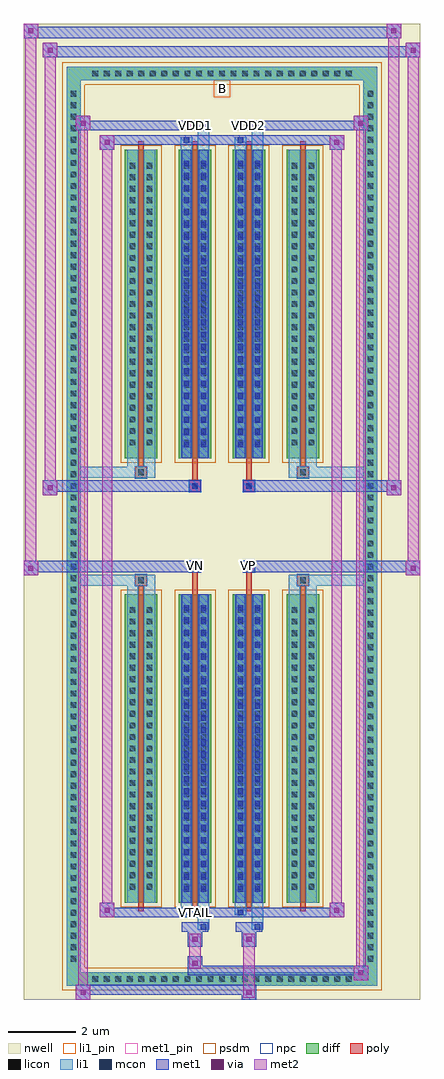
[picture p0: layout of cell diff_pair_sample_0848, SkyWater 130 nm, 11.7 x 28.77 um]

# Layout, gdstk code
import gdstk
lib = gdstk.Library(unit=1e-6, precision=5e-09)
def R(c, l, rs):  # rectangles x0, y0, x1, y1
    for r in rs: c.add(gdstk.rectangle(r[:2], r[2:], *l))
def A(c, l, x, y, w, h, nx, ny, dx, dy):  # array of equal rectangles
    R(c, l, [(x+i*dx, y+j*dy, x+i*dx+w, y+j*dy+h) for i in range(nx) for j in range(ny)])
def P(c, l, *ps):  # polygons
    for p in ps: c.add(gdstk.Polygon(p, *l))
nwell = (64, 20)
diff = (65, 20)
poly = (66, 20)
licon = (66, 44)
li1_pin = (67, 16)
li1 = (67, 20)
mcon = (67, 44)
met1_pin = (68, 16)
met1 = (68, 20)
via = (68, 44)
met2 = (69, 20)
psdm = (94, 20)
npc = (95, 20)

diff_pair_sample_0848 = lib.new_cell('diff_pair_sample_0848')
R(diff_pair_sample_0848, nwell, [(-5.85,-13.95,5.85,14.82), (-3.17,-12.14,-0.01,-0.82), (0.01,-12.14,3.17,-0.82), (-3.17,0.82,-0.01,12.14), (0.01,0.82,3.17,12.14)])
A(diff_pair_sample_0848, diff, -3.945, -13.55, 0.41, 0.41, 23, 2, 0.34, 26.69)
A(diff_pair_sample_0848, diff, -4.58, -12.955, 0.41, 0.41, 1, 76, 0, 0.34)
A(diff_pair_sample_0848, diff, 4.17, -12.955, 0.41, 0.41, 1, 76, 0, 0.34)
A(diff_pair_sample_0848, diff, -2.86, -11.095, 0.95, 9.09, 4, 2, 1.59, 13.1)
R(diff_pair_sample_0848, diff, [(-3.945,-13.55,3.945,-13.14), (-4.58,-12.955,-4.17,12.955), (4.17,-12.955,4.58,12.955), (-3.945,13.14,3.945,13.55)])
P(diff_pair_sample_0848, diff, [(4.58,13.55),(-4.58,13.55),(-4.58,-13.14),(-4.17,-13.14),(-4.17,13.14),(4.17,13.14),(4.17,-13.14),(-4.17,-13.14),(-4.58,-13.14),(-4.58,-13.55),(4.58,-13.55)])
A(diff_pair_sample_0848, poly, -2.47, -11.345, 0.17, 9.59, 4, 2, 1.59, 13.1)
R(diff_pair_sample_0848, poly, [(-2.55,-1.755,-2.22,-1.425), (-2.55,-1.755,-2.22,-1.425), (-0.88,-1.755,-0.71,-1.35), (0.71,-1.755,0.88,-1.35), (2.22,-1.755,2.55,-1.425), (2.22,-1.755,2.55,-1.425), (-0.96,-1.35,-0.63,-1.02), (-0.96,-1.35,-0.63,-1.02), (0.63,-1.35,0.96,-1.02), (0.63,-1.35,0.96,-1.02), (-0.96,1.02,-0.63,1.35), (-0.96,1.02,-0.63,1.35), (0.63,1.02,0.96,1.35), (0.63,1.02,0.96,1.35), (-0.88,1.35,-0.71,1.755), (0.71,1.35,0.88,1.755), (-2.55,1.425,-2.22,1.755), (-2.55,1.425,-2.22,1.755), (2.22,1.425,2.55,1.755), (2.22,1.425,2.55,1.755)])
A(diff_pair_sample_0848, licon, -3.825, -13.43, 0.17, 0.17, 23, 2, 0.34, 26.69)
A(diff_pair_sample_0848, licon, -4.46, -12.835, 0.17, 0.17, 1, 76, 0, 0.34)
A(diff_pair_sample_0848, licon, 4.29, -12.835, 0.17, 0.17, 1, 76, 0, 0.34)
A(diff_pair_sample_0848, licon, -2.72, -10.715, 0.17, 0.17, 1, 25, 0, 0.34)
A(diff_pair_sample_0848, licon, -2.22, -10.715, 0.17, 0.17, 1, 25, 0, 0.34)
A(diff_pair_sample_0848, licon, -1.13, -10.715, 0.17, 0.17, 1, 25, 0, 0.34)
A(diff_pair_sample_0848, licon, -0.63, -10.715, 0.17, 0.17, 1, 25, 0, 0.34)
A(diff_pair_sample_0848, licon, 0.46, -10.715, 0.17, 0.17, 1, 25, 0, 0.34)
A(diff_pair_sample_0848, licon, 0.96, -10.715, 0.17, 0.17, 1, 25, 0, 0.34)
A(diff_pair_sample_0848, licon, 2.05, -10.715, 0.17, 0.17, 1, 25, 0, 0.34)
A(diff_pair_sample_0848, licon, 2.55, -10.715, 0.17, 0.17, 1, 25, 0, 0.34)
A(diff_pair_sample_0848, licon, -2.72, 2.385, 0.17, 0.17, 1, 25, 0, 0.34)
A(diff_pair_sample_0848, licon, -2.22, 2.385, 0.17, 0.17, 1, 25, 0, 0.34)
A(diff_pair_sample_0848, licon, -1.13, 2.385, 0.17, 0.17, 1, 25, 0, 0.34)
A(diff_pair_sample_0848, licon, -0.63, 2.385, 0.17, 0.17, 1, 25, 0, 0.34)
A(diff_pair_sample_0848, licon, 0.46, 2.385, 0.17, 0.17, 1, 25, 0, 0.34)
A(diff_pair_sample_0848, licon, 0.96, 2.385, 0.17, 0.17, 1, 25, 0, 0.34)
A(diff_pair_sample_0848, licon, 2.05, 2.385, 0.17, 0.17, 1, 25, 0, 0.34)
A(diff_pair_sample_0848, licon, 2.55, 2.385, 0.17, 0.17, 1, 25, 0, 0.34)
R(diff_pair_sample_0848, licon, [(-2.47,-1.675,-2.3,-1.505), (2.3,-1.675,2.47,-1.505), (-0.88,-1.27,-0.71,-1.1), (0.71,-1.27,0.88,-1.1), (-0.88,1.1,-0.71,1.27), (0.71,1.1,0.88,1.27), (-2.47,1.505,-2.3,1.675), (2.3,1.505,2.47,1.675)])
R(diff_pair_sample_0848, li1_pin, [(-0.25,12.64,0.25,13.14)])
A(diff_pair_sample_0848, li1, -3.905, -13.51, 0.33, 0.33, 23, 2, 0.34, 26.69)
A(diff_pair_sample_0848, li1, -4.54, -12.915, 0.33, 0.33, 1, 76, 0, 0.34)
A(diff_pair_sample_0848, li1, 4.21, -12.915, 0.33, 0.33, 1, 76, 0, 0.34)
A(diff_pair_sample_0848, li1, -2.8, -10.795, 0.33, 0.33, 1, 25, 0, 0.34)
A(diff_pair_sample_0848, li1, -2.3, -10.795, 0.33, 0.33, 1, 25, 0, 0.34)
A(diff_pair_sample_0848, li1, -1.21, -10.795, 0.33, 0.33, 1, 25, 0, 0.34)
A(diff_pair_sample_0848, li1, -0.71, -10.795, 0.33, 0.33, 1, 25, 0, 0.34)
A(diff_pair_sample_0848, li1, 0.38, -10.795, 0.33, 0.33, 1, 25, 0, 0.34)
A(diff_pair_sample_0848, li1, 0.88, -10.795, 0.33, 0.33, 1, 25, 0, 0.34)
A(diff_pair_sample_0848, li1, 1.97, -10.795, 0.33, 0.33, 1, 25, 0, 0.34)
A(diff_pair_sample_0848, li1, 2.47, -10.795, 0.33, 0.33, 1, 25, 0, 0.34)
A(diff_pair_sample_0848, li1, -1.13, -10.775, 0.17, 0.17, 1, 24, 0, 0.36)
A(diff_pair_sample_0848, li1, -0.63, -10.775, 0.17, 0.17, 1, 24, 0, 0.36)
A(diff_pair_sample_0848, li1, 0.46, -10.775, 0.17, 0.17, 1, 24, 0, 0.36)
A(diff_pair_sample_0848, li1, 0.96, -10.775, 0.17, 0.17, 1, 24, 0, 0.36)
A(diff_pair_sample_0848, li1, -2.8, 2.305, 0.33, 0.33, 1, 25, 0, 0.34)
A(diff_pair_sample_0848, li1, -2.3, 2.305, 0.33, 0.33, 1, 25, 0, 0.34)
A(diff_pair_sample_0848, li1, -1.21, 2.305, 0.33, 0.33, 1, 25, 0, 0.34)
A(diff_pair_sample_0848, li1, -0.71, 2.305, 0.33, 0.33, 1, 25, 0, 0.34)
A(diff_pair_sample_0848, li1, 0.38, 2.305, 0.33, 0.33, 1, 25, 0, 0.34)
A(diff_pair_sample_0848, li1, 0.88, 2.305, 0.33, 0.33, 1, 25, 0, 0.34)
A(diff_pair_sample_0848, li1, 1.97, 2.305, 0.33, 0.33, 1, 25, 0, 0.34)
A(diff_pair_sample_0848, li1, 2.47, 2.305, 0.33, 0.33, 1, 25, 0, 0.34)
A(diff_pair_sample_0848, li1, -1.13, 2.325, 0.17, 0.17, 1, 24, 0, 0.36)
A(diff_pair_sample_0848, li1, -0.63, 2.325, 0.17, 0.17, 1, 24, 0, 0.36)
A(diff_pair_sample_0848, li1, 0.46, 2.325, 0.17, 0.17, 1, 24, 0, 0.36)
A(diff_pair_sample_0848, li1, 0.96, 2.325, 0.17, 0.17, 1, 24, 0, 0.36)
R(diff_pair_sample_0848, li1, [(-4.58,-13.55,-4.17,-13.14), (-4.58,-13.55,-4.17,-13.14), (-4.17,-13.55,4.17,-13.14), (4.17,-13.55,4.58,-13.14), (4.17,-13.55,4.58,-13.14), (-4.58,-13.14,-4.17,13.14), (4.17,-13.14,4.58,13.14), (-0.71,-11.9,-0.38,-11.095), (-0.63,-11.9,-0.46,-11.73), (0.88,-11.9,1.21,-11.095), (0.96,-11.9,1.13,-11.73), (-1.21,-11.47,-0.88,-11.095), (-1.13,-11.47,-0.96,-11.3), (0.38,-11.47,0.71,-11.095), (0.46,-11.47,0.63,-11.3), (-2.8,-11.095,-2.47,-2.005), (-2.3,-11.095,-1.97,-2.005), (-1.21,-11.095,-0.88,-2.005), (-0.71,-11.095,-0.38,-2.005), (0.38,-11.095,0.71,-2.005), (0.88,-11.095,1.21,-2.005), (1.97,-11.095,2.3,-2.005), (2.47,-11.095,2.8,-2.005), (-1.13,-10.775,-0.96,-2.325), (-0.63,-10.775,-0.46,-2.325), (0.46,-10.775,0.63,-2.325), (0.96,-10.775,1.13,-2.325), (-2.8,-2.005,-2.47,-1.425), (-2.3,-2.005,-1.97,-1.425), (1.97,-2.005,2.3,-1.425), (2.47,-2.005,2.8,-1.425), (-4.58,-1.755,-2.55,-1.425), (-2.8,-1.755,-2.55,-1.425), (-2.55,-1.755,-2.22,-1.425), (-2.22,-1.755,-1.97,-1.425), (1.97,-1.755,2.22,-1.425), (2.22,-1.755,2.55,-1.425), (2.22,-1.755,4.58,-1.425), (2.55,-1.755,2.8,-1.425), (-0.96,-1.35,-0.63,-1.02), (0.63,-1.35,0.96,-1.02), (-0.96,1.02,-0.63,1.35), (0.63,1.02,0.96,1.35), (-4.58,1.425,-2.55,1.755), (-2.8,1.425,-2.55,1.755), (-2.8,1.425,-2.47,2.005), (-2.55,1.425,-2.22,1.755), (-2.3,1.425,-1.97,2.005), (-2.22,1.425,-1.97,1.755), (1.97,1.425,2.22,1.755), (1.97,1.425,2.3,2.005), (2.22,1.425,2.55,1.755), (2.22,1.425,4.58,1.755), (2.47,1.425,2.8,2.005), (2.55,1.425,2.8,1.755), (-2.8,2.005,-2.47,11.095), (-2.3,2.005,-1.97,11.095), (-1.21,2.005,-0.88,11.095), (-0.71,2.005,-0.38,11.095), (0.38,2.005,0.71,11.095), (0.88,2.005,1.21,11.095), (1.97,2.005,2.3,11.095), (2.47,2.005,2.8,11.095), (-1.13,2.325,-0.96,10.775), (-0.63,2.325,-0.46,10.775), (0.46,2.325,0.63,10.775), (0.96,2.325,1.13,10.775), (-1.21,11.095,-0.88,11.47), (-0.71,11.095,-0.38,11.9), (0.38,11.095,0.71,11.47), (0.88,11.095,1.21,11.9), (-1.13,11.3,-0.96,11.47), (0.46,11.3,0.63,11.47), (-0.63,11.73,-0.46,11.9), (0.96,11.73,1.13,11.9), (-4.58,13.14,-4.17,13.55), (-4.58,13.14,-4.17,13.55), (-4.17,13.14,4.17,13.55), (4.17,13.14,4.58,13.55), (4.17,13.14,4.58,13.55)])
A(diff_pair_sample_0848, mcon, -1.13, -10.775, 0.17, 0.17, 1, 24, 0, 0.36)
A(diff_pair_sample_0848, mcon, -0.63, -10.775, 0.17, 0.17, 1, 24, 0, 0.36)
A(diff_pair_sample_0848, mcon, 0.46, -10.775, 0.17, 0.17, 1, 24, 0, 0.36)
A(diff_pair_sample_0848, mcon, 0.96, -10.775, 0.17, 0.17, 1, 24, 0, 0.36)
A(diff_pair_sample_0848, mcon, -1.13, 2.325, 0.17, 0.17, 1, 24, 0, 0.36)
A(diff_pair_sample_0848, mcon, -0.63, 2.325, 0.17, 0.17, 1, 24, 0, 0.36)
A(diff_pair_sample_0848, mcon, 0.46, 2.325, 0.17, 0.17, 1, 24, 0, 0.36)
A(diff_pair_sample_0848, mcon, 0.96, 2.325, 0.17, 0.17, 1, 24, 0, 0.36)
R(diff_pair_sample_0848, mcon, [(-0.63,-11.9,-0.46,-11.73), (0.96,-11.9,1.13,-11.73), (-1.13,-11.47,-0.96,-11.3), (0.46,-11.47,0.63,-11.3), (-0.88,-1.27,-0.71,-1.1), (0.71,-1.27,0.88,-1.1), (-0.88,1.1,-0.71,1.27), (0.71,1.1,0.88,1.27), (-1.13,11.3,-0.96,11.47), (0.46,11.3,0.63,11.47), (-0.63,11.73,-0.46,11.9), (0.96,11.73,1.13,11.9)])
R(diff_pair_sample_0848, met1_pin, [(-0.93,-11.51,-0.66,-11.24), (-0.93,-1.29,-0.66,-1.02), (0.66,-1.29,0.93,-1.02), (-0.93,11.69,-0.66,11.96), (0.66,11.69,0.93,11.96)])
A(diff_pair_sample_0848, met1, -1.19, -10.835, 0.29, 0.29, 1, 24, 0, 0.36)
A(diff_pair_sample_0848, met1, -0.69, -10.835, 0.29, 0.29, 1, 24, 0, 0.36)
A(diff_pair_sample_0848, met1, 0.4, -10.835, 0.29, 0.29, 1, 24, 0, 0.36)
A(diff_pair_sample_0848, met1, 0.9, -10.835, 0.29, 0.29, 1, 24, 0, 0.36)
A(diff_pair_sample_0848, met1, -1.19, 2.265, 0.29, 0.29, 1, 24, 0, 0.36)
A(diff_pair_sample_0848, met1, -0.69, 2.265, 0.29, 0.29, 1, 24, 0, 0.36)
A(diff_pair_sample_0848, met1, 0.4, 2.265, 0.29, 0.29, 1, 24, 0, 0.36)
A(diff_pair_sample_0848, met1, 0.9, 2.265, 0.29, 0.29, 1, 24, 0, 0.36)
R(diff_pair_sample_0848, met1, [(-4.31,-13.95,-3.88,-13.52), (0.58,-13.95,1.01,-13.52), (-4.31,-13.81,1.01,-13.52), (3.88,-13.38,4.31,-12.95), (-1.01,-13.24,4.31,-12.95), (-1.01,-13.1,-0.58,-12.67), (-1.01,-12.39,-0.58,-11.96), (0.58,-12.39,1.01,-11.96), (-1.19,-11.96,-0.4,-11.67), (-0.69,-11.96,-0.4,-11.67), (0.4,-11.96,1.19,-11.67), (0.9,-11.96,1.19,-11.67), (-3.6,-11.53,-3.17,-11.1), (-3.6,-11.53,-1.19,-11.24), (-1.19,-11.53,-0.9,-11.24), (-1.19,-11.53,-0.4,-11.24), (-0.4,-11.53,0.4,-11.24), (0.4,-11.53,0.69,-11.24), (0.4,-11.53,1.19,-11.24), (1.19,-11.53,3.6,-11.24), (3.17,-11.53,3.6,-11.1), (-1.19,-11.095,-0.9,-2.005), (-0.69,-11.095,-0.4,-2.005), (0.4,-11.095,0.69,-2.005), (0.9,-11.095,1.19,-2.005), (-5.85,-1.45,-5.42,-1.02), (5.42,-1.45,5.85,-1.02), (-5.85,-1.35,-0.63,-1.02), (-0.96,-1.35,-0.63,-1.02), (0.63,-1.35,0.96,-1.02), (0.63,-1.35,5.85,-1.02), (-0.94,-1.33,-0.65,-1.04), (0.65,-1.33,0.94,-1.04), (-5.28,0.92,-4.85,1.35), (4.85,0.92,5.28,1.35), (-5.28,1.02,-0.96,1.35), (-0.96,1.02,-0.63,1.35), (0.63,1.02,0.96,1.35), (0.96,1.02,5.28,1.35), (-0.94,1.04,-0.65,1.33), (0.65,1.04,0.94,1.33), (-1.19,2.005,-0.9,11.095), (-0.69,2.005,-0.4,11.095), (0.4,2.005,0.69,11.095), (0.9,2.005,1.19,11.095), (-3.6,11.1,-3.17,11.53), (3.17,11.1,3.6,11.53), (-3.6,11.24,-1.19,11.53), (-1.19,11.24,-0.9,11.53), (-1.19,11.24,-0.4,11.53), (-0.4,11.24,0.4,11.53), (0.4,11.24,0.69,11.53), (0.4,11.24,1.19,11.53), (1.19,11.24,3.6,11.53), (-4.31,11.67,-3.88,12.1), (-4.31,11.67,-1.19,11.96), (-1.19,11.67,-0.4,11.96), (-0.69,11.67,-0.4,11.96), (0.4,11.67,1.19,11.96), (0.9,11.67,1.19,11.96), (1.19,11.67,4.31,11.96), (3.88,11.67,4.31,12.1), (-5.28,13.82,-4.85,14.25), (-5.28,13.82,-3.17,14.15), (-3.17,13.82,3.17,14.15), (3.17,13.82,5.85,14.15), (5.42,13.82,5.85,14.25), (-5.85,14.39,-5.42,14.82), (-5.85,14.39,-3.17,14.72), (-3.17,14.39,3.17,14.72), (3.17,14.39,5.28,14.72), (4.85,14.39,5.28,14.82)])
R(diff_pair_sample_0848, via, [(-4.17,-13.81,-4.02,-13.66), (0.72,-13.81,0.87,-13.66), (4.02,-13.24,4.17,-13.09), (-0.87,-12.96,-0.72,-12.81), (-0.87,-12.25,-0.72,-12.1), (0.72,-12.25,0.87,-12.1), (-3.46,-11.39,-3.31,-11.24), (3.31,-11.39,3.46,-11.24), (-5.71,-1.31,-5.56,-1.16), (5.56,-1.31,5.71,-1.16), (-5.14,1.06,-4.99,1.21), (4.99,1.06,5.14,1.21), (-3.46,11.24,-3.31,11.39), (3.31,11.24,3.46,11.39), (-4.17,11.81,-4.02,11.96), (4.02,11.81,4.17,11.96), (-5.14,13.96,-4.99,14.11), (5.56,13.96,5.71,14.11), (-5.71,14.53,-5.56,14.68), (4.99,14.53,5.14,14.68)])
R(diff_pair_sample_0848, met2, [(-4.31,-13.95,-3.88,-13.52), (-4.24,-13.95,-3.95,12.1), (-3.95,-13.95,-3.88,-13.52), (-4.26,-13.9,-3.93,-13.57), (0.63,-13.9,0.96,-13.57), (0.63,-13.57,0.96,-12.34), (3.88,-13.38,4.31,-12.95), (3.95,-13.38,4.24,12.1), (4.24,-13.38,4.31,-12.95), (3.93,-13.33,4.26,-13), (-0.96,-13.05,-0.63,-12.72), (-0.96,-12.72,-0.63,-12.34), (-0.96,-12.34,-0.63,-12.01), (0.63,-12.34,0.96,-12.01), (-3.6,-11.53,-3.17,-11.1), (-3.53,-11.53,-3.24,11.53), (-3.24,-11.53,-3.17,-11.1), (3.17,-11.53,3.6,-11.1), (3.24,-11.53,3.53,11.53), (3.53,-11.53,3.6,-11.1), (-3.55,-11.48,-3.22,-11.15), (3.22,-11.48,3.55,-11.15), (-5.85,-1.45,-5.42,-1.02), (-5.8,-1.45,-5.47,14.82), (-5.47,-1.45,-5.42,-1.02), (5.42,-1.45,5.85,-1.02), (5.47,-1.45,5.8,14.25), (5.8,-1.45,5.85,-1.02), (-5.8,-1.4,-5.47,-1.07), (5.47,-1.4,5.8,-1.07), (-5.28,0.92,-4.85,1.35), (-5.23,0.92,-4.9,14.25), (-4.9,0.92,-4.85,1.35), (4.85,0.92,5.28,1.35), (4.9,0.92,5.23,14.82), (5.23,0.92,5.28,1.35), (-5.23,0.97,-4.9,1.3), (4.9,0.97,5.23,1.3), (-3.6,11.1,-3.17,11.53), (-3.24,11.1,-3.17,11.53), (3.17,11.1,3.6,11.53), (3.53,11.1,3.6,11.53), (-3.55,11.15,-3.22,11.48), (3.22,11.15,3.55,11.48), (-4.31,11.67,-3.88,12.1), (-3.95,11.67,-3.88,12.1), (3.88,11.67,4.31,12.1), (4.24,11.67,4.31,12.1), (-4.26,11.72,-3.93,12.05), (3.93,11.72,4.26,12.05), (-5.28,13.82,-4.85,14.25), (-4.9,13.82,-4.85,14.25), (5.42,13.82,5.85,14.25), (5.8,13.82,5.85,14.25), (-5.23,13.87,-4.9,14.2), (5.47,13.87,5.8,14.2), (-5.85,14.39,-5.42,14.82), (-5.47,14.39,-5.42,14.82), (4.85,14.39,5.28,14.82), (5.23,14.39,5.28,14.82), (-5.8,14.44,-5.47,14.77), (4.9,14.44,5.23,14.77)])
A(diff_pair_sample_0848, psdm, -2.99, -11.225, 1.21, 9.35, 4, 2, 1.59, 13.1)
P(diff_pair_sample_0848, psdm, [(4.71,13.68),(-4.71,13.68),(-4.71,-13.01),(-4.04,-13.01),(-4.04,13.01),(4.04,13.01),(4.04,-13.01),(-4.04,-13.01),(-4.71,-13.01),(-4.71,-13.68),(4.71,-13.68)])
R(diff_pair_sample_0848, npc, [(-2.57,-1.775,-2.2,-1.405), (2.2,-1.775,2.57,-1.405), (-0.98,-1.37,-0.61,-1), (0.61,-1.37,0.98,-1), (-0.98,1,-0.61,1.37), (0.61,1,0.98,1.37), (-2.57,1.405,-2.2,1.775), (2.2,1.405,2.57,1.775)])
diff_pair_sample_0848.add(gdstk.Label('VTAIL', (-0.795,-11.375), layer=68, texttype=5))
diff_pair_sample_0848.add(gdstk.Label('VN', (-0.795,-1.155), layer=68, texttype=5))
diff_pair_sample_0848.add(gdstk.Label('VP', (0.795,-1.155), layer=68, texttype=5))
diff_pair_sample_0848.add(gdstk.Label('B', (0,12.89), layer=67, texttype=5))
diff_pair_sample_0848.add(gdstk.Label('VDD2', (0.795,11.825), layer=68, texttype=5))
diff_pair_sample_0848.add(gdstk.Label('VDD1', (-0.795,11.825), layer=68, texttype=5))

lib.write_gds('diff_pair_sample_0848.gds')
